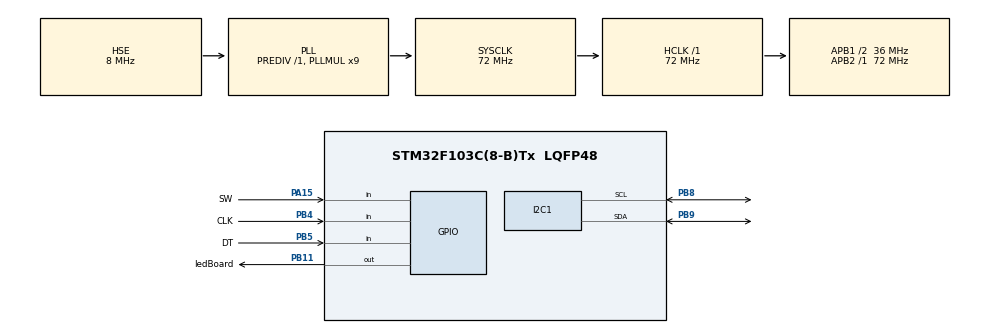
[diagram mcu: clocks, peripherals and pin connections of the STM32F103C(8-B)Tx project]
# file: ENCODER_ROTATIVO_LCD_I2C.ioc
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Mcu.Family=STM32F1
Mcu.Name=STM32F103C(8-B)Tx
Mcu.Package=LQFP48
NVIC.PriorityGroup=NVIC_PRIORITYGROUP_4
NVIC.TIM4_IRQn=true\:0\:0\:false\:false\:true\:true\:true\:true
PA13.Mode=Serial_Wire
PA13.Signal=SYS_JTMS-SWDIO
PA14.Mode=Serial_Wire
PA14.Signal=SYS_JTCK-SWCLK
PA15.GPIO_Label=SW
PA15.GPIO_PuPd=GPIO_PULLUP
PA15.Signal=GPIO_Input
PB11.GPIO_Label=ledBoard
PB11.Signal=GPIO_Output
PB4.GPIO_Label=CLK
PB4.GPIO_PuPd=GPIO_PULLUP
PB4.Signal=GPIO_Input
PB5.GPIO_Label=DT
PB5.GPIO_PuPd=GPIO_PULLUP
PB5.Signal=GPIO_Input
PB8.Mode=I2C
PB8.Signal=I2C1_SCL
PB9.Mode=I2C
PB9.Signal=I2C1_SDA
PD0-OSC_IN.Mode=HSE-External-Oscillator
PD0-OSC_IN.Signal=RCC_OSC_IN
PD1-OSC_OUT.Mode=HSE-External-Oscillator
PD1-OSC_OUT.Signal=RCC_OSC_OUT
ProjectManager.HeapSize=0x200
ProjectManager.StackSize=0x400
ProjectManager.TargetToolchain=STM32CubeIDE
RCC.AHBFreq_Value=72000000
RCC.APB1CLKDivider=RCC_HCLK_DIV2
RCC.APB1Freq_Value=36000000
RCC.APB1TimFreq_Value=72000000
RCC.APB2Freq_Value=72000000
RCC.APB2TimFreq_Value=72000000
RCC.HCLKFreq_Value=72000000
RCC.PLLMUL=RCC_PLL_MUL9
RCC.PLLSourceVirtual=RCC_PLLSOURCE_HSE
RCC.SYSCLKFreq_VALUE=72000000
RCC.SYSCLKSource=RCC_SYSCLKSOURCE_PLLCLK
RCC.USBFreq_Value=72000000
TIM4.Period=10-1
TIM4.Prescaler=36000-1
VP_TIM4_VS_ClockSourceINT.Mode=Internal
board=custom

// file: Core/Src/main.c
/* USER CODE BEGIN Header */
/**
  ******************************************************************************
  * @file           : main.c
  * @brief          : Main program body
  ******************************************************************************
  * @attention
  *
  * Copyright (c) 2023 STMicroelectronics.
  * All rights reserved.
  *
  * This software is licensed under terms that can be found in the LICENSE file
  * in the root directory of this software component.
  * If no LICENSE file comes with this software, it is provided AS-IS.
  *
  ******************************************************************************
  */
/* USER CODE END Header */
#include "main.h"

/* USER CODE BEGIN Includes */
#include "stdio.h"
#include "Anglas_LCD_I2C.h"
#include "Anglas_ENCODER_ROT.h"
/* USER CODE END Includes */

I2C_HandleTypeDef hi2c1;

TIM_HandleTypeDef htim4;

/* USER CODE BEGIN PV */
char buff[16];
uint16_t encoder;
uint8_t mem=0,suma=0;//variables para el pulsador del encoder
/* USER CODE END PV */

void SystemClock_Config(void);
static void MX_GPIO_Init(void);
static void MX_I2C1_Init(void);
static void MX_TIM4_Init(void);

int main(void)
{

  /* MCU Configuration--------------------------------------------------------*/

  /* Reset of all peripherals, Initializes the Flash interface and the Systick. */
  HAL_Init();

  /* Configure the system clock */
  SystemClock_Config();

  /* Initialize all configured peripherals */
  MX_GPIO_Init();
  MX_I2C1_Init();
  MX_TIM4_Init();
  /* USER CODE BEGIN 2 */
  HAL_TIM_Base_Start_IT(&htim4);
  LCD_I2C_Init();
  LCD_I2C_WriteText(1,1," STM32F103C8T6  ");
  LCD_I2C_WriteText(2,1,"ENCODER ROTATIVO");
  HAL_Delay(1500);
  LCD_I2C_ClearText();
  /* USER CODE END 2 */

  /* Infinite loop */
  /* USER CODE BEGIN WHILE */
  while (1)
  {
      sprintf(buff,"Encoder: %4i",encoder);
      LCD_I2C_WriteText(1,1,buff);
      //Lo que hace es lo mismo que un toggle, solo con mi logica de programacio y sin delay

      if(HAL_GPIO_ReadPin(SW_GPIO_Port, SW_Pin) == 0 && mem == 0){
    	  mem = 1;}
      if(HAL_GPIO_ReadPin(SW_GPIO_Port, SW_Pin) == 1 && mem == 1){
          suma = suma + 1;
          mem = 0;}
       if(suma==1){
           suma=2;  //cambio el contador para que solo haga una vez todo lo que esta dentro del if
           HAL_GPIO_WritePin(ledBoard_GPIO_Port, ledBoard_Pin, SET);
           LCD_I2C_WriteText(2,1,"LED = ON ");}
       if(suma==3){
           suma=0; //cambio el contador para que solo haga una vez todo lo que esta dentro del if
           HAL_GPIO_WritePin(ledBoard_GPIO_Port, ledBoard_Pin, RESET);
           LCD_I2C_WriteText(2,1,"LED = OFF");}
    /* USER CODE END WHILE */

  }
}

void SystemClock_Config(void)
{
  RCC_OscInitTypeDef RCC_OscInitStruct = {0};
  RCC_ClkInitTypeDef RCC_ClkInitStruct = {0};

  /** Initializes the RCC Oscillators according to the specified parameters
  * in the RCC_OscInitTypeDef structure.
  */
  RCC_OscInitStruct.OscillatorType = RCC_OSCILLATORTYPE_HSE;
  RCC_OscInitStruct.HSEState = RCC_HSE_ON;
  RCC_OscInitStruct.HSEPredivValue = RCC_HSE_PREDIV_DIV1;
  RCC_OscInitStruct.HSIState = RCC_HSI_ON;
  RCC_OscInitStruct.PLL.PLLState = RCC_PLL_ON;
  RCC_OscInitStruct.PLL.PLLSource = RCC_PLLSOURCE_HSE;
  RCC_OscInitStruct.PLL.PLLMUL = RCC_PLL_MUL9;
  if (HAL_RCC_OscConfig(&RCC_OscInitStruct) != HAL_OK)
  {
    Error_Handler();
  }

  /** Initializes the CPU, AHB and APB buses clocks
  */
  RCC_ClkInitStruct.ClockType = RCC_CLOCKTYPE_HCLK|RCC_CLOCKTYPE_SYSCLK
                              |RCC_CLOCKTYPE_PCLK1|RCC_CLOCKTYPE_PCLK2;
  RCC_ClkInitStruct.SYSCLKSource = RCC_SYSCLKSOURCE_PLLCLK;
  RCC_ClkInitStruct.AHBCLKDivider = RCC_SYSCLK_DIV1;
  RCC_ClkInitStruct.APB1CLKDivider = RCC_HCLK_DIV2;
  RCC_ClkInitStruct.APB2CLKDivider = RCC_HCLK_DIV1;

  if (HAL_RCC_ClockConfig(&RCC_ClkInitStruct, FLASH_LATENCY_2) != HAL_OK)
  {
    Error_Handler();
  }
}

static void MX_I2C1_Init(void)
{

  hi2c1.Instance = I2C1;
  hi2c1.Init.ClockSpeed = 100000;
  hi2c1.Init.DutyCycle = I2C_DUTYCYCLE_2;
  hi2c1.Init.OwnAddress1 = 0;
  hi2c1.Init.AddressingMode = I2C_ADDRESSINGMODE_7BIT;
  hi2c1.Init.DualAddressMode = I2C_DUALADDRESS_DISABLE;
  hi2c1.Init.OwnAddress2 = 0;
  hi2c1.Init.GeneralCallMode = I2C_GENERALCALL_DISABLE;
  hi2c1.Init.NoStretchMode = I2C_NOSTRETCH_DISABLE;
  if (HAL_I2C_Init(&hi2c1) != HAL_OK)
  {
    Error_Handler();
  }

}

static void MX_TIM4_Init(void)
{

  TIM_ClockConfigTypeDef sClockSourceConfig = {0};
  TIM_MasterConfigTypeDef sMasterConfig = {0};

  htim4.Instance = TIM4;
  htim4.Init.Prescaler = 36000-1;
  htim4.Init.CounterMode = TIM_COUNTERMODE_UP;
  htim4.Init.Period = 10-1;
  htim4.Init.ClockDivision = TIM_CLOCKDIVISION_DIV1;
  htim4.Init.AutoReloadPreload = TIM_AUTORELOAD_PRELOAD_DISABLE;
  if (HAL_TIM_Base_Init(&htim4) != HAL_OK)
  {
    Error_Handler();
  }
  sClockSourceConfig.ClockSource = TIM_CLOCKSOURCE_INTERNAL;
  if (HAL_TIM_ConfigClockSource(&htim4, &sClockSourceConfig) != HAL_OK)
  {
    Error_Handler();
  }
  sMasterConfig.MasterOutputTrigger = TIM_TRGO_RESET;
  sMasterConfig.MasterSlaveMode = TIM_MASTERSLAVEMODE_DISABLE;
  if (HAL_TIMEx_MasterConfigSynchronization(&htim4, &sMasterConfig) != HAL_OK)
  {
    Error_Handler();
  }

}

static void MX_GPIO_Init(void)
{
  GPIO_InitTypeDef GPIO_InitStruct = {0};

  /* GPIO Ports Clock Enable */
  __HAL_RCC_GPIOD_CLK_ENABLE();
  __HAL_RCC_GPIOB_CLK_ENABLE();
  __HAL_RCC_GPIOA_CLK_ENABLE();

  /*Configure GPIO pin Output Level */
  HAL_GPIO_WritePin(ledBoard_GPIO_Port, ledBoard_Pin, GPIO_PIN_RESET);

  /*Configure GPIO pin : ledBoard_Pin */
  GPIO_InitStruct.Pin = ledBoard_Pin;
  GPIO_InitStruct.Mode = GPIO_MODE_OUTPUT_PP;
  GPIO_InitStruct.Pull = GPIO_NOPULL;
  GPIO_InitStruct.Speed = GPIO_SPEED_FREQ_LOW;
  HAL_GPIO_Init(ledBoard_GPIO_Port, &GPIO_InitStruct);

  /*Configure GPIO pin : SW_Pin */
  GPIO_InitStruct.Pin = SW_Pin;
  GPIO_InitStruct.Mode = GPIO_MODE_INPUT;
  GPIO_InitStruct.Pull = GPIO_PULLUP;
  HAL_GPIO_Init(SW_GPIO_Port, &GPIO_InitStruct);

  /*Configure GPIO pins : CLK_Pin DT_Pin */
  GPIO_InitStruct.Pin = CLK_Pin|DT_Pin;
  GPIO_InitStruct.Mode = GPIO_MODE_INPUT;
  GPIO_InitStruct.Pull = GPIO_PULLUP;
  HAL_GPIO_Init(GPIOB, &GPIO_InitStruct);

}

/* USER CODE BEGIN 4 */
void HAL_TIM_PeriodElapsedCallback(TIM_HandleTypeDef *htim) {
	if (htim->Instance == TIM4) {//Leemos el encoder cada 5ms
		encoder = Encoder_Run();
	}
}
/* USER CODE END 4 */

void Error_Handler(void)
{
  __disable_irq();
  while (1)
  {
  }
}
